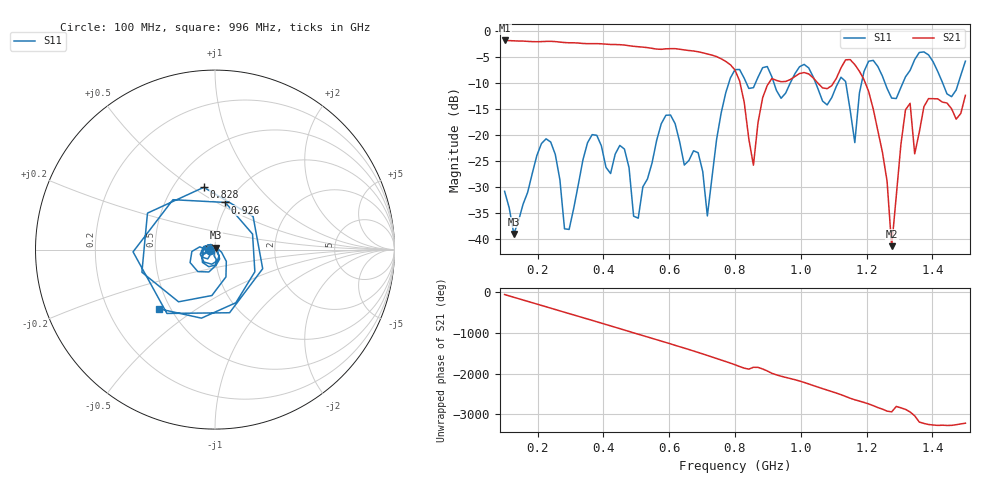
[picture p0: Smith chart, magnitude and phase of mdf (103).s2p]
! NanoVNA-App
! Date: 2025-09-25 15:39:13
! Start: 100MHz Stop: 1,5GHz Points: 101
! S-Parameter data: F S11 S21 S12 S22
# Hz S RI R 50
!  Frequency  S11_Real  S11_Imag  S21_Real  S21_Imag  S12_Real  S12_Imag  S22_Real  S22_Imag
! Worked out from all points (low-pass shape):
!   101 points, 100 MHz to 1.5 GHz, reference 50 ohm
!   highest |S21| = -1.80 dB at 100 MHz (marker M1); lowest = -41.3 dB at 1.276 GHz (marker M2)
!   |S21| within 3 dB of the highest: start of sweep to 739.1 MHz
!   lowest |S11| = -38.9 dB at 128 MHz (marker M3), VSWR 1.02, Z = 50.3 + j1.08 ohm
!   |S11| at or under -10 dB: start of sweep to 781 MHz; 1.045 GHz to 1.113 GHz (67.53 MHz wide, 6.26 % of centre); 1.256 GHz to 1.31 GHz (53.68 MHz wide, 4.18 % of centre) (the widest 3 of 7)
!   S12 and S22 are empty: the file has one direction only
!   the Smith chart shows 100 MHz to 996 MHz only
!   S11 on the Smith chart (normalised r, x): 100 MHz: 0.94, -0.01; 828 MHz: 0.70, +0.56; 926 MHz: 0.97, +0.55; 996 MHz: 0.43, -0.36
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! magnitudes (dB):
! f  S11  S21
! 100 MHz  -30.8  -1.8
! 128 MHz  -38.9  -1.9
! 212 MHz  -21.6  -2.0
! 282 MHz  -38.0  -2.2
! 338 MHz  -24.7  -2.4
! 464 MHz  -22.7  -2.7
! 506 MHz  -35.9  -3.0
! 576 MHz  -17.8  -3.5
! 716 MHz  -35.5  -4.4
! 800 MHz  -7.4  -7.5
! 828 MHz  -9.1  -13.7
! 856 MHz  -10.9  -25.7
! 926 MHz  -11.4  -9.5
! 996 MHz  -6.9  -8.2
! 1.038 GHz  -8.8  -9.0
! 1.136 GHz  -9.7  -5.5
! 1.164 GHz  -21.4  -6.4
! 1.192 GHz  -7.7  -9.3
! 1.276 GHz  -12.9  -41.3
! 1.318 GHz  -8.8  -15.1
! 1.346 GHz  -5.5  -23.6
! 1.5 GHz  -5.8  -12.4
